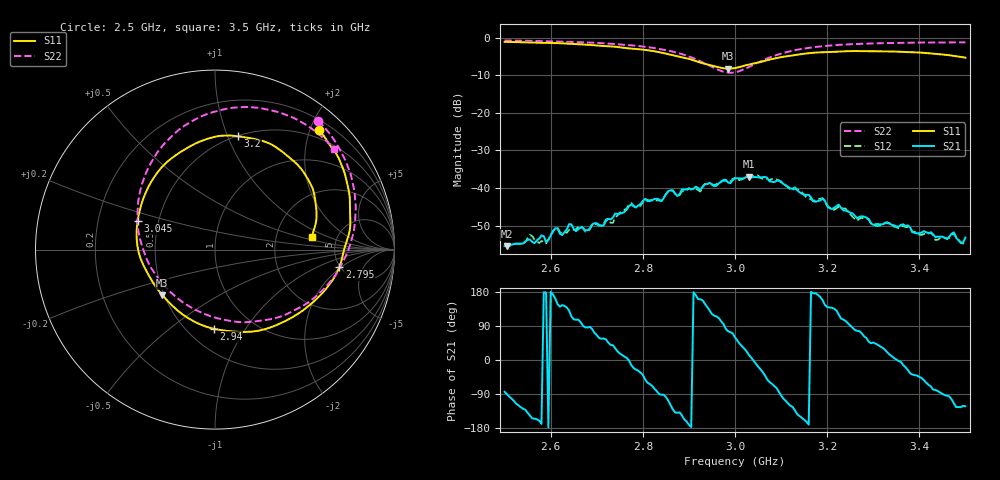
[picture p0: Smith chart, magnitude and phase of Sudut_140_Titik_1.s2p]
# Hz S RI R 50
! CMT, C1220, 16058040, 17.2.0/1
! Date: 15/08/2018 09:47:59
! Data: Format (Calibration Info)
! Freq  S11: Re/Im (F2)  S21: Re/Im (F2)  S12: Re/Im (F2)  S22: Re/Im (F2)
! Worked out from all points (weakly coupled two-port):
!   201 points, 2.5 GHz to 3.5 GHz, reference 50 ohm
!   highest |S21| = -36.98 dB at 3.03 GHz (marker M1); lowest = -55.5 dB at 2.505 GHz (marker M2)
!   lowest |S11| = -8.2 dB at 2.985 GHz (marker M3), VSWR 2.27, Z = 24.4 - j14.6 ohm
!   |S11| at or under -10 dB: nowhere
!   |S22| runs from -9.3 to -0.7 dB; largest |S21 - S12| = 0.0012
!   S11 on the Smith chart (normalised r, x): 2.5 GHz: 0.36, +2.14; 2.795 GHz: 4.94, -1.86; 2.94 GHz: 0.67, -0.73; 3.045 GHz: 0.38, +0.15; 3.2 GHz: 0.50, +1.09; 3.5 GHz: 3.24, +0.66
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2.5e9  0.5772 0.6672  0.000183 -0.00168  0.000153 -0.00184  0.5752 0.7181
2.505e9  0.5839 0.6596  -8.63e-06 -0.00168  -0.000124 -0.00176  0.5809 0.7125
2.555e9  0.6414 0.5797  -0.00172 -0.00114  -0.00193 -0.00139  0.6366 0.6491
2.59e9  0.6861 0.5154  -0.00192 6.8e-05  -0.00183 -9.86e-05  0.6729 0.5963
2.61e9  0.7031 0.4763  -0.00278 0.000891  -0.00281 0.000861  0.693 0.5619
2.625e9  0.7172 0.4408  -0.00193 0.00136  -0.00192 0.00157  0.707 0.5355
2.64e9  0.7293 0.3996  -0.00213 0.00253  -0.00174 0.00217  0.7216 0.5071
2.67e9  0.746 0.3254  -2.11e-05 0.00295  0.000171 0.0029  0.7473 0.4441
2.775e9  0.7157 -0.0135  0.00587 -0.00143  0.00606 -0.00169  0.7791 0.1486
2.795e9  0.6934 -0.0963  0.00512 -0.00335  0.00481 -0.0032  0.7675 0.0779
2.835e9  0.5954 -0.2454  7.46e-05 -0.00704  0.000265 -0.0068  0.7066 -0.0788
2.94e9  -0.00818 -0.4408  -0.00857 0.00736  -0.00877 0.00716  0.1727 -0.4044
2.985e9  -0.2934 -0.2541  0.00289 0.0115  0.00246 0.0117  -0.1809 -0.2926
3e9  -0.3631 -0.1535  0.00684 0.0117  0.00753 0.0114  -0.2798 -0.2038
3.03e9  -0.436 0.055  0.0138 0.00333  0.0136 0.00335  -0.4063 0.0195
3.045e9  -0.4313 0.1604  0.0138 -0.00224  0.0146 -0.00208  -0.4317 0.1411
3.105e9  -0.2615 0.493  -0.00232 -0.0111  -0.00258 -0.0109  -0.3239 0.5376
3.17e9  0.0128 0.6316  -0.00664 0.000466  -0.00671 -7.08e-05  -0.0707 0.7447
3.2e9  0.1276 0.6311  -0.00441 0.00374  -0.00428 0.00396  0.0422 0.7797
3.305e9  0.4228 0.5062  0.00241 0.00226  0.00238 0.00205  0.3518 0.7663
3.335e9  0.4795 0.4506  0.00325 0.000861  0.00334 0.000722  0.4178 0.742
3.5e9  0.5391 0.0717  -0.00116 -0.00185  -0.00112 -0.00165  0.6652 0.5577
